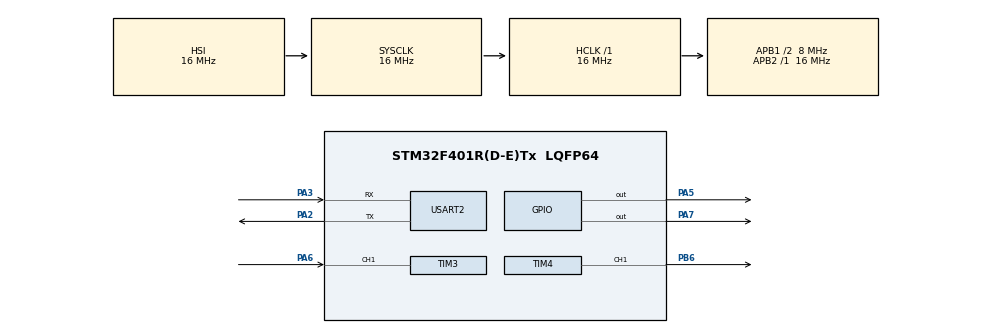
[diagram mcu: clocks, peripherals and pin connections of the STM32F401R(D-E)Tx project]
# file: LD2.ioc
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ADC1.Channel-0\#ChannelRegularConversion=ADC_CHANNEL_TEMPSENSOR
ADC1.NbrOfConversionFlag=1
ADC1.Rank-0\#ChannelRegularConversion=1
ADC1.SamplingTime-0\#ChannelRegularConversion=ADC_SAMPLETIME_3CYCLES
ADC1.master=1
Mcu.Family=STM32F4
Mcu.Name=STM32F401R(D-E)Tx
Mcu.Package=LQFP64
NVIC.PriorityGroup=NVIC_PRIORITYGROUP_4
NVIC.TIM3_IRQn=true\:0\:0\:false\:false\:true\:true
NVIC.USART2_IRQn=true\:0\:0\:false\:false\:true\:true
PA2.Mode=Asynchronous
PA2.Signal=USART2_TX
PA3.Mode=Asynchronous
PA3.Signal=USART2_RX
PA5.Signal=GPIO_Output
PA6.GPIO_PuPd=GPIO_PULLDOWN
PA6.Signal=S_TIM3_CH1
PA7.Signal=GPIO_Output
PB6.Signal=S_TIM4_CH1
ProjectManager.HeapSize=0x200
ProjectManager.StackSize=0x400
ProjectManager.TargetToolchain=MDK-ARM V5
RCC.48MHZClocksFreq_Value=42000000
RCC.AHBFreq_Value=16000000
RCC.APB1CLKDivider=RCC_HCLK_DIV2
RCC.APB1Freq_Value=8000000
RCC.APB1TimFreq_Value=16000000
RCC.APB2Freq_Value=16000000
RCC.APB2TimFreq_Value=16000000
RCC.CortexFreq_Value=16000000
RCC.HCLKFreq_Value=16000000
RCC.HSE_VALUE=8000000
RCC.HSI_VALUE=16000000
RCC.LSE_VALUE=32768
RCC.PLLM=8
RCC.PLLN=84
RCC.SYSCLKFreq_VALUE=16000000
RCC.VCOOutputFreq_Value=168000000
SH.S_TIM3_CH1.0=TIM3_CH1,Input_Capture1_from_TI1
SH.S_TIM4_CH1.0=TIM4_CH1,PWM Generation1 CH1
TIM3.Channel-Input_Capture1_from_TI1=TIM_CHANNEL_1
TIM3.Period=0xffff
TIM3.Prescaler=15
TIM4.Channel-PWM\ Generation1\ CH1=TIM_CHANNEL_1
TIM4.Period=99
TIM4.Prescaler=15
TIM4.Pulse-PWM\ Generation1\ CH1=50
USART2.VirtualMode=VM_ASYNC
VP_ADC1_TempSens_Input.Mode=IN-TempSens
VP_TIM3_VS_ClockSourceINT.Mode=Internal
VP_TIM4_VS_ClockSourceINT.Mode=Internal
board=custom

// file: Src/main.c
/**
  ******************************************************************************
  * @file           : main.c
  * @brief          : Main program body
  ******************************************************************************
  ** This notice applies to any and all portions of this file
  * that are not between comment pairs USER CODE BEGIN and
  * USER CODE END. Other portions of this file, whether
  * inserted by the user or by software development tools
  * are owned by their respective copyright owners.
  *
  * COPYRIGHT(c) 2018 STMicroelectronics
  *
  * Redistribution and use in source and binary forms, with or without modification,
  * are permitted provided that the following conditions are met:
  *   1. Redistributions of source code must retain the above copyright notice,
  *      this list of conditions and the following disclaimer.
  *   2. Redistributions in binary form must reproduce the above copyright notice,
  *      this list of conditions and the following disclaimer in the documentation
  *      and/or other materials provided with the distribution.
  *   3. Neither the name of STMicroelectronics nor the names of its contributors
  *      may be used to endorse or promote products derived from this software
  *      without specific prior written permission.
  *
  * THIS SOFTWARE IS PROVIDED BY THE COPYRIGHT HOLDERS AND CONTRIBUTORS "AS IS"
  * AND ANY EXPRESS OR IMPLIED WARRANTIES, INCLUDING, BUT NOT LIMITED TO, THE
  * IMPLIED WARRANTIES OF MERCHANTABILITY AND FITNESS FOR A PARTICULAR PURPOSE ARE
  * DISCLAIMED. IN NO EVENT SHALL THE COPYRIGHT HOLDER OR CONTRIBUTORS BE LIABLE
  * FOR ANY DIRECT, INDIRECT, INCIDENTAL, SPECIAL, EXEMPLARY, OR CONSEQUENTIAL
  * DAMAGES (INCLUDING, BUT NOT LIMITED TO, PROCUREMENT OF SUBSTITUTE GOODS OR
  * SERVICES; LOSS OF USE, DATA, OR PROFITS; OR BUSINESS INTERRUPTION) HOWEVER
  * CAUSED AND ON ANY THEORY OF LIABILITY, WHETHER IN CONTRACT, STRICT LIABILITY,
  * OR TORT (INCLUDING NEGLIGENCE OR OTHERWISE) ARISING IN ANY WAY OUT OF THE USE
  * OF THIS SOFTWARE, EVEN IF ADVISED OF THE POSSIBILITY OF SUCH DAMAGE.
  *
  ******************************************************************************
  */
#include "main.h"
#include "stm32f4xx_hal.h"
#include "stdio.h"
/* USER CODE BEGIN Includes */
//#include "HCSR04.h"
#ifdef __GNUC__
	#define PUTCHAR_PROTOTYPE int __io_putchar(int ch)
#else
	#define PUTCHAR_PROTOTYPE int fputc(int ch,FILE *f)
#endif/*__GNUC__*/
/* USER CODE END Includes */

ADC_HandleTypeDef hadc1;

TIM_HandleTypeDef htim3;
TIM_HandleTypeDef htim4;

UART_HandleTypeDef huart2;

/* USER CODE BEGIN PV */
/* Private variables ---------------------------------------------------------*/

/* USER CODE END PV */

void SystemClock_Config(void);
static void MX_GPIO_Init(void);
static void MX_USART2_UART_Init(void);
static void MX_ADC1_Init(void);
static void MX_TIM3_Init(void);
static void MX_TIM4_Init(void);

void HAL_TIM_MspPostInit(TIM_HandleTypeDef *htim);

/* USER CODE BEGIN PFP */
/* Private function prototypes -----------------------------------------------*/
void UartPutNum( float n);
/* USER CODE END PFP */

/* USER CODE BEGIN 0 */
uint8_t TxData[24] = {"hello world!"};
//uint8_t TxDistance[4] = {"cm"};
//uint8_t TxTemp[4] = {"C"};
uint8_t RxData[2];
uint16_t AD_Value = 0;
float Temp = 0;
uint8_t cTemp[20];
uint32_t capture_cnt = 0;
uint32_t capture_value1, capture_value2;
uint32_t pwm_cycle,hightime;
uint64_t duty;
float distance = 0;

/* USER CODE END 0 */

int main(void)
{

  /* MCU Configuration----------------------------------------------------------*/

  /* Reset of all peripherals, Initializes the Flash interface and the Systick. */
  HAL_Init();

  /* Configure the system clock */
  SystemClock_Config();

  /* Initialize all configured peripherals */
  MX_GPIO_Init();
  MX_USART2_UART_Init();
  MX_ADC1_Init();
  MX_TIM3_Init();
  MX_TIM4_Init();
  /* USER CODE BEGIN 2 */
 	//HAL_UART_Transmit_IT(&huart2,(uint8_t *)TxData,sizeof(TxData));
	//printf("  %s",TxData);
	HAL_TIM_PWM_Start( &htim4, TIM_CHANNEL_1);

  /* USER CODE END 2 */

  /* Infinite loop */
  while (1)
  {
  /* USER CODE BEGIN 3 */
		HAL_UART_Receive_IT(&huart2,(uint8_t *)RxData,sizeof(RxData));//串口接收
		switch(capture_cnt)
		{
			case 0:
				capture_cnt++;
			  //设置TIM3通道1捕获上升沿
			  __HAL_TIM_SET_CAPTUREPOLARITY( &htim3 , TIM_CHANNEL_1, TIM_INPUTCHANNELPOLARITY_RISING);
		    //开启TIM3捕获中断模式
			  HAL_TIM_IC_Start_IT( &htim3 , TIM_CHANNEL_1 );
				break;
			case 3:
				//计算高电平计数值(TIM3计数器频率1MHz)
				if(capture_value2 >= capture_value1)
				hightime = capture_value2 - capture_value1;
			  if(capture_value2 < capture_value1)
				{
					hightime = capture_value2 + (0xffff- capture_value1);
				}
				//根据公式计算距离 hightime/1000000.0为高电平时间
				distance = hightime/10000.0*340/2.0;
				//	UartPutNum(distance);
//				HAL_UART_Transmit_IT(&huart2,(uint8_t *)TxDistance,sizeof(TxDistance));
//				HAL_UART_Transmit_IT(&huart2,(uint8_t *)TxDistance,sizeof(TxDistance));
				printf("%.3f",distance);
				capture_cnt = 0;
				break;
		}
		//当接收到00命令时，进行测距，给trig一个高电平
		if(RxData[0]=='0'&&RxData[1]=='0'){
		HAL_GPIO_WritePin( GPIOA, GPIO_PIN_7,GPIO_PIN_SET);
  	HAL_Delay(1);
  	HAL_GPIO_WritePin( GPIOA, GPIO_PIN_7,0);
		RxData[1]='1';
		}
		if(RxData[0]=='1'&&RxData[1]=='1'){
			HAL_ADC_Start(&hadc1);   //开启ADC模块
			HAL_ADC_PollForConversion(&hadc1,50);
			if(HAL_IS_BIT_SET(HAL_ADC_GetState(&hadc1),HAL_ADC_STATE_REG_EOC))
			{
				AD_Value = HAL_ADC_GetValue(&hadc1);
			  Temp = ((AD_Value*3300/4096-760)/2.5+25);//温度计算
				printf("%f",Temp);
		  //	HAL_UART_Transmit_IT(&huart2,(uint8_t *)TxData,sizeof(TxData));

			 // HAL_UART_Transmit_IT(&huart2,(uint8_t *)TxTemp,sizeof(TxTemp));
			//	UartPutNum(Temp);
   			//HAL_UART_Transmit_IT(&huart2,(uint8_t *)strTx,sizeof(strTx));
				//	printf("温度:%.1f °C\n",Temp);
			}
			RxData[1]='0';
		}
	}
  /* USER CODE END 3 */
}

void SystemClock_Config(void)
{

  RCC_OscInitTypeDef RCC_OscInitStruct;
  RCC_ClkInitTypeDef RCC_ClkInitStruct;

    /**Configure the main internal regulator output voltage
    */
  __HAL_RCC_PWR_CLK_ENABLE();

  __HAL_PWR_VOLTAGESCALING_CONFIG(PWR_REGULATOR_VOLTAGE_SCALE2);

    /**Initializes the CPU, AHB and APB busses clocks
    */
  RCC_OscInitStruct.OscillatorType = RCC_OSCILLATORTYPE_HSI;
  RCC_OscInitStruct.HSIState = RCC_HSI_ON;
  RCC_OscInitStruct.HSICalibrationValue = 16;
  RCC_OscInitStruct.PLL.PLLState = RCC_PLL_NONE;
  if (HAL_RCC_OscConfig(&RCC_OscInitStruct) != HAL_OK)
  {
    _Error_Handler(__FILE__, __LINE__);
  }

    /**Initializes the CPU, AHB and APB busses clocks
    */
  RCC_ClkInitStruct.ClockType = RCC_CLOCKTYPE_HCLK|RCC_CLOCKTYPE_SYSCLK
                              |RCC_CLOCKTYPE_PCLK1|RCC_CLOCKTYPE_PCLK2;
  RCC_ClkInitStruct.SYSCLKSource = RCC_SYSCLKSOURCE_HSI;
  RCC_ClkInitStruct.AHBCLKDivider = RCC_SYSCLK_DIV1;
  RCC_ClkInitStruct.APB1CLKDivider = RCC_HCLK_DIV2;
  RCC_ClkInitStruct.APB2CLKDivider = RCC_HCLK_DIV1;

  if (HAL_RCC_ClockConfig(&RCC_ClkInitStruct, FLASH_LATENCY_0) != HAL_OK)
  {
    _Error_Handler(__FILE__, __LINE__);
  }

    /**Configure the Systick interrupt time
    */
  HAL_SYSTICK_Config(HAL_RCC_GetHCLKFreq()/1000);

    /**Configure the Systick
    */
  HAL_SYSTICK_CLKSourceConfig(SYSTICK_CLKSOURCE_HCLK);

  /* SysTick_IRQn interrupt configuration */
  HAL_NVIC_SetPriority(SysTick_IRQn, 0, 0);
}

/* ADC1 init function */
static void MX_ADC1_Init(void)
{

  ADC_ChannelConfTypeDef sConfig;

    /**Configure the global features of the ADC (Clock, Resolution, Data Alignment and number of conversion)
    */
  hadc1.Instance = ADC1;
  hadc1.Init.ClockPrescaler = ADC_CLOCK_SYNC_PCLK_DIV2;
  hadc1.Init.Resolution = ADC_RESOLUTION_12B;
  hadc1.Init.ScanConvMode = DISABLE;
  hadc1.Init.ContinuousConvMode = DISABLE;
  hadc1.Init.DiscontinuousConvMode = DISABLE;
  hadc1.Init.ExternalTrigConvEdge = ADC_EXTERNALTRIGCONVEDGE_NONE;
  hadc1.Init.ExternalTrigConv = ADC_SOFTWARE_START;
  hadc1.Init.DataAlign = ADC_DATAALIGN_RIGHT;
  hadc1.Init.NbrOfConversion = 1;
  hadc1.Init.DMAContinuousRequests = DISABLE;
  hadc1.Init.EOCSelection = ADC_EOC_SINGLE_CONV;
  if (HAL_ADC_Init(&hadc1) != HAL_OK)
  {
    _Error_Handler(__FILE__, __LINE__);
  }

    /**Configure for the selected ADC regular channel its corresponding rank in the sequencer and its sample time.
    */
  sConfig.Channel = ADC_CHANNEL_TEMPSENSOR;
  sConfig.Rank = 1;
  sConfig.SamplingTime = ADC_SAMPLETIME_3CYCLES;
  if (HAL_ADC_ConfigChannel(&hadc1, &sConfig) != HAL_OK)
  {
    _Error_Handler(__FILE__, __LINE__);
  }

}

/* TIM3 init function */
static void MX_TIM3_Init(void)
{

  TIM_ClockConfigTypeDef sClockSourceConfig;
  TIM_MasterConfigTypeDef sMasterConfig;
  TIM_IC_InitTypeDef sConfigIC;

  htim3.Instance = TIM3;
  htim3.Init.Prescaler = 15;
  htim3.Init.CounterMode = TIM_COUNTERMODE_UP;
  htim3.Init.Period = 0xffff;
  htim3.Init.ClockDivision = TIM_CLOCKDIVISION_DIV1;
  if (HAL_TIM_Base_Init(&htim3) != HAL_OK)
  {
    _Error_Handler(__FILE__, __LINE__);
  }

  sClockSourceConfig.ClockSource = TIM_CLOCKSOURCE_INTERNAL;
  if (HAL_TIM_ConfigClockSource(&htim3, &sClockSourceConfig) != HAL_OK)
  {
    _Error_Handler(__FILE__, __LINE__);
  }

  if (HAL_TIM_IC_Init(&htim3) != HAL_OK)
  {
    _Error_Handler(__FILE__, __LINE__);
  }

  sMasterConfig.MasterOutputTrigger = TIM_TRGO_RESET;
  sMasterConfig.MasterSlaveMode = TIM_MASTERSLAVEMODE_DISABLE;
  if (HAL_TIMEx_MasterConfigSynchronization(&htim3, &sMasterConfig) != HAL_OK)
  {
    _Error_Handler(__FILE__, __LINE__);
  }

  sConfigIC.ICPolarity = TIM_INPUTCHANNELPOLARITY_RISING;
  sConfigIC.ICSelection = TIM_ICSELECTION_DIRECTTI;
  sConfigIC.ICPrescaler = TIM_ICPSC_DIV1;
  sConfigIC.ICFilter = 0;
  if (HAL_TIM_IC_ConfigChannel(&htim3, &sConfigIC, TIM_CHANNEL_1) != HAL_OK)
  {
    _Error_Handler(__FILE__, __LINE__);
  }

}

/* TIM4 init function */
static void MX_TIM4_Init(void)
{

  TIM_ClockConfigTypeDef sClockSourceConfig;
  TIM_MasterConfigTypeDef sMasterConfig;
  TIM_OC_InitTypeDef sConfigOC;

  htim4.Instance = TIM4;
  htim4.Init.Prescaler = 15;
  htim4.Init.CounterMode = TIM_COUNTERMODE_UP;
  htim4.Init.Period = 99;
  htim4.Init.ClockDivision = TIM_CLOCKDIVISION_DIV1;
  if (HAL_TIM_Base_Init(&htim4) != HAL_OK)
  {
    _Error_Handler(__FILE__, __LINE__);
  }

  sClockSourceConfig.ClockSource = TIM_CLOCKSOURCE_INTERNAL;
  if (HAL_TIM_ConfigClockSource(&htim4, &sClockSourceConfig) != HAL_OK)
  {
    _Error_Handler(__FILE__, __LINE__);
  }

  if (HAL_TIM_PWM_Init(&htim4) != HAL_OK)
  {
    _Error_Handler(__FILE__, __LINE__);
  }

  sMasterConfig.MasterOutputTrigger = TIM_TRGO_RESET;
  sMasterConfig.MasterSlaveMode = TIM_MASTERSLAVEMODE_DISABLE;
  if (HAL_TIMEx_MasterConfigSynchronization(&htim4, &sMasterConfig) != HAL_OK)
  {
    _Error_Handler(__FILE__, __LINE__);
  }

  sConfigOC.OCMode = TIM_OCMODE_PWM1;
  sConfigOC.Pulse = 30;
  sConfigOC.OCPolarity = TIM_OCPOLARITY_HIGH;
  sConfigOC.OCFastMode = TIM_OCFAST_DISABLE;
  if (HAL_TIM_PWM_ConfigChannel(&htim4, &sConfigOC, TIM_CHANNEL_1) != HAL_OK)
  {
    _Error_Handler(__FILE__, __LINE__);
  }

  HAL_TIM_MspPostInit(&htim4);

}

/* USART2 init function */
static void MX_USART2_UART_Init(void)
{

  huart2.Instance = USART2;
  huart2.Init.BaudRate = 9600;
  huart2.Init.WordLength = UART_WORDLENGTH_8B;
  huart2.Init.StopBits = UART_STOPBITS_1;
  huart2.Init.Parity = UART_PARITY_NONE;
  huart2.Init.Mode = UART_MODE_TX_RX;
  huart2.Init.HwFlowCtl = UART_HWCONTROL_NONE;
  huart2.Init.OverSampling = UART_OVERSAMPLING_16;
  if (HAL_UART_Init(&huart2) != HAL_OK)
  {
    _Error_Handler(__FILE__, __LINE__);
  }

}

/** Configure pins as
        * Analog
        * Input
        * Output
        * EVENT_OUT
        * EXTI
*/
static void MX_GPIO_Init(void)
{

  GPIO_InitTypeDef GPIO_InitStruct;

  /* GPIO Ports Clock Enable */
  __HAL_RCC_GPIOA_CLK_ENABLE();
  __HAL_RCC_GPIOB_CLK_ENABLE();

  /*Configure GPIO pin Output Level */
  HAL_GPIO_WritePin(GPIOA, GPIO_PIN_5|GPIO_PIN_7, GPIO_PIN_RESET);

  /*Configure GPIO pins : PA5 PA7 */
  GPIO_InitStruct.Pin = GPIO_PIN_5|GPIO_PIN_7;
  GPIO_InitStruct.Mode = GPIO_MODE_OUTPUT_PP;
  GPIO_InitStruct.Pull = GPIO_NOPULL;
  GPIO_InitStruct.Speed = GPIO_SPEED_FREQ_LOW;
  HAL_GPIO_Init(GPIOA, &GPIO_InitStruct);

}

/* USER CODE BEGIN 4 */
//void HAL_UART_RxCpltCallback(UART_HandleTypeDef *huart)
//{
//	UNUSED(huart);
////	HAL_UART_Transmit(&huart2,(uint8_t *)RxData,sizeof(RxData),0xFFFF);
////	printf("%s",RxData);
//}
//void HAL_GPIO_EXIT_Callback(uint16_t GPIO_Pin)
//{
////	if(GPIO_Pin == GPIO_PIN_0)
////	{
////		HAL_UART_Transmit(&huart2,RxData,sizeof(RxData),10);
////	}
//}
PUTCHAR_PROTOTYPE
{
	HAL_UART_Transmit(&huart2,(uint8_t *)&ch,1,0xFFFF);
	return ch;
}
void HAL_TIM_IC_CaptureCallback( TIM_HandleTypeDef *htim )
{

		if( TIM3 == htim->Instance )
			{
				if(HAL_TIM_ACTIVE_CHANNEL_1 == htim->Channel)
				{
					switch(capture_cnt){
						case 1:
							//获取当前计数值
							capture_value1 = __HAL_TIM_GET_COMPARE( htim, TIM_CHANNEL_1 );
  						//设置捕获下降沿
						  //	TIM_SET_CAPTUREPOLARITY(  htim, TIM_CHANNEL_1, TIM_INPUTCHANNELPOLARITY_RISING);
						  __HAL_TIM_SET_CAPTUREPOLARITY(  htim, TIM_CHANNEL_1, TIM_INPUTCHANNELPOLARITY_FALLING);
		  				capture_cnt++;
							break;
						case 2:
							//获取当前计数值
							capture_value2 = __HAL_TIM_GET_COMPARE( htim, TIM_CHANNEL_1 );
    				 //停止输入捕获模式
							HAL_TIM_IC_Stop_IT( htim, TIM_CHANNEL_1);
						  capture_cnt++;
							break;
						default:
							break;
					}
			}
		}
}
void UartPutNum( float num)
{
	uint16_t n,i,len;

	//len = size + 7;
	uint8_t number[7];
	n = (uint16_t) num*1000;
	number[0] = (n / 1000000);
	number[1] = (n % 100000/10000);
	number[2] = (n % 10000/1000);
	number[3] = '.'-'0';
	number[4] = (n % 1000/100);
	number[5] = (n % 100/10);
	number[6] = (n % 10);
	for(i = 0; i<7; i++)
	{
		number[i] = number[i] + '0';
	}
	HAL_UART_Transmit_IT(&huart2,number,sizeof(number));
//    for(i = 0;i<8;i++)
//		{
//			if(i==2)
//				HAL_UART_Transmit_IT(&huart2,(uint8_t *)'.',2);
//			HAL_UART_Transmit_IT(&huart2,(uint8_t *)number[i],sizeof(TxTemp));
//		}
 	//UartPutchar(number[i]+'0');
}
/* USER CODE END 4 */

void _Error_Handler(char *file, int line)
{
  while(1)
  {
  }
}

/************************ (C) COPYRIGHT STMicroelectronics *****END OF FILE****/
